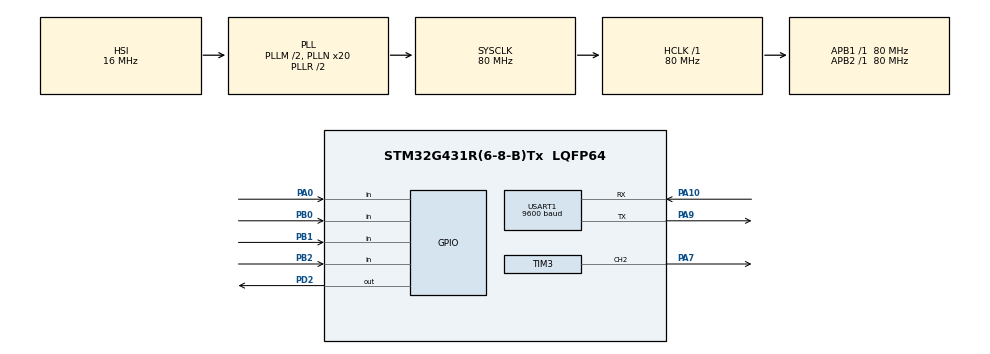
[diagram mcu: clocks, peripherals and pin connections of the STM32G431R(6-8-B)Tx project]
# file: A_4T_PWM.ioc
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Mcu.Family=STM32G4
Mcu.Name=STM32G431R(6-8-B)Tx
Mcu.Package=LQFP64
NVIC.PriorityGroup=NVIC_PRIORITYGROUP_4
NVIC.TIM3_IRQn=true\:0\:0\:false\:false\:true\:true\:true\:true
NVIC.USART1_IRQn=true\:0\:0\:false\:false\:true\:true\:true\:true
PA0.Signal=GPIO_Input
PA10.Mode=Asynchronous
PA10.Signal=USART1_RX
PA13.Mode=Serial_Wire
PA13.Signal=SYS_JTMS-SWDIO
PA14.Mode=Serial_Wire
PA14.Signal=SYS_JTCK-SWCLK
PA7.Signal=S_TIM3_CH2
PA9.Mode=Asynchronous
PA9.Signal=USART1_TX
PB0.Signal=GPIO_Input
PB1.Signal=GPIO_Input
PB2.Signal=GPIO_Input
PD2.Signal=GPIO_Output
PF0-OSC_IN.Mode=HSE-External-Oscillator
PF0-OSC_IN.Signal=RCC_OSC_IN
PF1-OSC_OUT.Mode=HSE-External-Oscillator
PF1-OSC_OUT.Signal=RCC_OSC_OUT
ProjectManager.HeapSize=0x200
ProjectManager.StackSize=0x400
ProjectManager.TargetToolchain=MDK-ARM V5.32
RCC.ADC12Freq_Value=80000000
RCC.AHBFreq_Value=80000000
RCC.APB1Freq_Value=80000000
RCC.APB1TimFreq_Value=80000000
RCC.APB2Freq_Value=80000000
RCC.APB2TimFreq_Value=80000000
RCC.CortexFreq_Value=80000000
RCC.EXTERNAL_CLOCK_VALUE=12288000
RCC.HCLKFreq_Value=80000000
RCC.HSE_VALUE=24000000
RCC.HSI48_VALUE=48000000
RCC.HSI_VALUE=16000000
RCC.LSE_VALUE=32768
RCC.PLLM=RCC_PLLM_DIV2
RCC.PLLN=20
RCC.SYSCLKFreq_VALUE=80000000
RCC.SYSCLKSource=RCC_SYSCLKSOURCE_PLLCLK
RCC.USBFreq_Value=80000000
RCC.VCOOutputFreq_Value=160000000
SH.S_TIM3_CH2.0=TIM3_CH2,PWM Generation2 CH2
TIM3.AutoReloadPreload=TIM_AUTORELOAD_PRELOAD_ENABLE
TIM3.Channel-PWM\ Generation2\ CH2=TIM_CHANNEL_2
TIM3.PeriodNoDither=1000-1
TIM3.Prescaler=80-1
TIM3.PulseNoDither_2=100
USART1.BaudRate=9600
USART1.VirtualMode-Asynchronous=VM_ASYNC
VP_SYS_VS_DBSignals.Mode=DisableDeadBatterySignals
VP_TIM3_VS_ClockSourceINT.Mode=Internal
board=custom

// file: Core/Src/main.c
/* USER CODE BEGIN Header */
/**
  ******************************************************************************
  * @file           : main.c
  * @brief          : Main program body
  ******************************************************************************
  * @attention
  *
  * Copyright (c) 2024 STMicroelectronics.
  * All rights reserved.
  *
  * This software is licensed under terms that can be found in the LICENSE file
  * in the root directory of this software component.
  * If no LICENSE file comes with this software, it is provided AS-IS.
  *
  ******************************************************************************
  */
/* USER CODE END Header */
#include "main.h"
#include "tim.h"
#include "usart.h"
#include "gpio.h"

/* USER CODE BEGIN Includes */
#include "lcd.h"
#include "string.h"
#include "stdio.h"
#include "key.h"
/* USER CODE END Includes */

/* USER CODE BEGIN PV */
__IO uint32_t lcd_uwtick;
__IO uint32_t key_uwtick;
uint8_t lcd_str[22];

uint8_t key_val,key_up,key_down,key_old;

int f=1000;

/* USER CODE END PV */

void SystemClock_Config(void);
/* USER CODE BEGIN PFP */

void lcd_proc(void);
void key_proc(void);

/* USER CODE END PFP */

int main(void)
{

  /* MCU Configuration--------------------------------------------------------*/

  /* Reset of all peripherals, Initializes the Flash interface and the Systick. */
  HAL_Init();

  /* Configure the system clock */
  SystemClock_Config();

  /* Initialize all configured peripherals */
  MX_GPIO_Init();
  MX_TIM3_Init();
  MX_USART1_UART_Init();
  /* USER CODE BEGIN 2 */
  LCD_Init();
  LCD_Clear(Black);
  LCD_SetBackColor(Black);
  LCD_SetTextColor(White);

  HAL_TIM_PWM_Start(&htim3,TIM_CHANNEL_2);

  /* USER CODE END 2 */

  /* Infinite loop */
  /* USER CODE BEGIN WHILE */
  while (1)
  {
	  key_proc();
	  lcd_proc();

    /* USER CODE END WHILE */

  }
}

void SystemClock_Config(void)
{
  RCC_OscInitTypeDef RCC_OscInitStruct = {0};
  RCC_ClkInitTypeDef RCC_ClkInitStruct = {0};

  /** Configure the main internal regulator output voltage
  */
  HAL_PWREx_ControlVoltageScaling(PWR_REGULATOR_VOLTAGE_SCALE1);

  /** Initializes the RCC Oscillators according to the specified parameters
  * in the RCC_OscInitTypeDef structure.
  */
  RCC_OscInitStruct.OscillatorType = RCC_OSCILLATORTYPE_HSI;
  RCC_OscInitStruct.HSIState = RCC_HSI_ON;
  RCC_OscInitStruct.HSICalibrationValue = RCC_HSICALIBRATION_DEFAULT;
  RCC_OscInitStruct.PLL.PLLState = RCC_PLL_ON;
  RCC_OscInitStruct.PLL.PLLSource = RCC_PLLSOURCE_HSI;
  RCC_OscInitStruct.PLL.PLLM = RCC_PLLM_DIV2;
  RCC_OscInitStruct.PLL.PLLN = 20;
  RCC_OscInitStruct.PLL.PLLP = RCC_PLLP_DIV2;
  RCC_OscInitStruct.PLL.PLLQ = RCC_PLLQ_DIV2;
  RCC_OscInitStruct.PLL.PLLR = RCC_PLLR_DIV2;
  if (HAL_RCC_OscConfig(&RCC_OscInitStruct) != HAL_OK)
  {
    Error_Handler();
  }

  /** Initializes the CPU, AHB and APB buses clocks
  */
  RCC_ClkInitStruct.ClockType = RCC_CLOCKTYPE_HCLK|RCC_CLOCKTYPE_SYSCLK
                              |RCC_CLOCKTYPE_PCLK1|RCC_CLOCKTYPE_PCLK2;
  RCC_ClkInitStruct.SYSCLKSource = RCC_SYSCLKSOURCE_PLLCLK;
  RCC_ClkInitStruct.AHBCLKDivider = RCC_SYSCLK_DIV1;
  RCC_ClkInitStruct.APB1CLKDivider = RCC_HCLK_DIV1;
  RCC_ClkInitStruct.APB2CLKDivider = RCC_HCLK_DIV1;

  if (HAL_RCC_ClockConfig(&RCC_ClkInitStruct, FLASH_LATENCY_2) != HAL_OK)
  {
    Error_Handler();
  }
}

/* USER CODE BEGIN 4 */
void lcd_proc(void)
{
	if(uwTick-lcd_uwtick<500) return;
	lcd_uwtick = uwTick;

	sprintf((char*)lcd_str,"hello:%d  ",f);
	LCD_DisplayStringLine(Line0,lcd_str);
}
void key_proc(void)
{
	if(uwTick-key_uwtick<50) return;
	key_uwtick = uwTick;

	key_val = key_scan();
	key_down = key_val&(key_val^key_old);
	key_up = key_val&(key_val^key_old);
	key_old = key_val;

	if(key_down==1)
	{
		//80 000 000/80/ARR = 1000  ARR=1000
		//80 000 000/80/500 = 2000
		//80 000 000/80/    = 3000
		if(f<10000)
		{
			f+=1000;

		}
		else
		{
			f=1000;
		}
		__HAL_TIM_SET_AUTORELOAD(&htim3,1.0*1000000/f);
		__HAL_TIM_SET_COMPARE(&htim3,TIM_CHANNEL_2,0.1*1000000/f);
	}

//	if(key_down)
//	{
//		sprintf((char*)lcd_str,"key: %d",key_down);
//	LCD_DisplayStringLine(Line1,lcd_str);
//	}

}
/* USER CODE END 4 */

void Error_Handler(void)
{
  __disable_irq();
  while (1)
  {
  }
}
